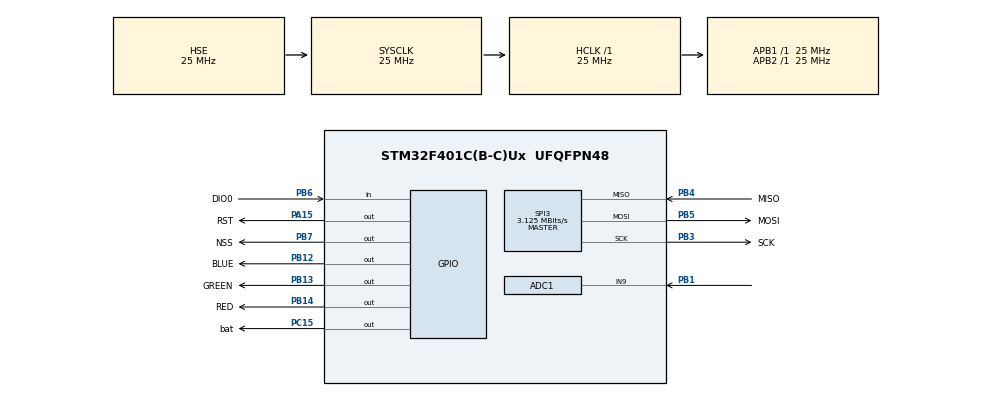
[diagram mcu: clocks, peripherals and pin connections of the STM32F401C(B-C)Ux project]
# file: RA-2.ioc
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ADC1.Channel-0\#ChannelRegularConversion=ADC_CHANNEL_9
ADC1.NbrOfConversionFlag=1
ADC1.Rank-0\#ChannelRegularConversion=1
ADC1.SamplingTime-0\#ChannelRegularConversion=ADC_SAMPLETIME_480CYCLES
ADC1.master=1
Mcu.Family=STM32F4
Mcu.Name=STM32F401C(B-C)Ux
Mcu.Package=UFQFPN48
NVIC.PriorityGroup=NVIC_PRIORITYGROUP_4
NVIC.RTC_WKUP_IRQn=true\:0\:0\:false\:false\:true\:true\:true\:true
PA15.GPIO_Label=RST
PA15.Signal=GPIO_Output
PB1.Signal=ADCx_IN9
PB12.GPIO_Label=BLUE
PB12.GPIO_Speed=GPIO_SPEED_FREQ_LOW
PB12.PinState=GPIO_PIN_RESET
PB12.Signal=GPIO_Output
PB13.GPIO_Label=GREEN
PB13.GPIO_Speed=GPIO_SPEED_FREQ_LOW
PB13.PinState=GPIO_PIN_RESET
PB13.Signal=GPIO_Output
PB14.GPIO_Label=RED
PB14.GPIO_Speed=GPIO_SPEED_FREQ_LOW
PB14.PinState=GPIO_PIN_RESET
PB14.Signal=GPIO_Output
PB3.GPIO_Label=SCK
PB3.Mode=Full_Duplex_Master
PB3.Signal=SPI3_SCK
PB4.GPIO_Label=MISO
PB4.Mode=Full_Duplex_Master
PB4.Signal=SPI3_MISO
PB5.GPIO_Label=MOSI
PB5.Mode=Full_Duplex_Master
PB5.Signal=SPI3_MOSI
PB6.GPIO_Label=DIO0
PB6.Signal=GPIO_Input
PB7.GPIO_Label=NSS
PB7.Signal=GPIO_Output
PC15-OSC32_OUT.GPIO_Label=bat
PC15-OSC32_OUT.PinState=GPIO_PIN_SET
PC15-OSC32_OUT.Signal=GPIO_Output
PH0\ -\ OSC_IN.Mode=HSE-External-Oscillator
PH0\ -\ OSC_IN.Signal=RCC_OSC_IN
PH1\ -\ OSC_OUT.Mode=HSE-External-Oscillator
PH1\ -\ OSC_OUT.Signal=RCC_OSC_OUT
ProjectManager.HeapSize=0x200
ProjectManager.StackSize=0x400
ProjectManager.TargetToolchain=STM32CubeIDE
RCC.48MHZClocksFreq_Value=48000000
RCC.AHBFreq_Value=25000000
RCC.APB1Freq_Value=25000000
RCC.APB1TimFreq_Value=25000000
RCC.APB2Freq_Value=25000000
RCC.APB2TimFreq_Value=25000000
RCC.CortexFreq_Value=25000000
RCC.HCLKFreq_Value=25000000
RCC.HSE_VALUE=25000000
RCC.HSI_VALUE=16000000
RCC.LSE_VALUE=32768
RCC.PLLM=15
RCC.PLLN=144
RCC.PLLP=RCC_PLLP_DIV4
RCC.PLLQ=5
RCC.PLLSourceVirtual=RCC_PLLSOURCE_HSE
RCC.SYSCLKFreq_VALUE=25000000
RCC.SYSCLKSource=RCC_SYSCLKSOURCE_HSE
RCC.VCOOutputFreq_Value=240000000
SH.ADCx_IN9.0=ADC1_IN9,IN9
SPI3.BaudRatePrescaler=SPI_BAUDRATEPRESCALER_8
SPI3.CalculateBaudRate=3.125 MBits/s
SPI3.Direction=SPI_DIRECTION_2LINES
SPI3.Mode=SPI_MODE_MASTER
SPI3.VirtualType=VM_MASTER
TIM11.Prescaler=2500-1
VP_RTC_VS_RTC_Activate.Mode=RTC_Enabled
VP_RTC_VS_RTC_WakeUp_intern.Mode=WakeUp
VP_TIM11_VS_ClockSourceINT.Mode=Enable_Timer
board=custom

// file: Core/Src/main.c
/* USER CODE BEGIN Header */
/**
  ******************************************************************************
  * @file           : main.c
  * @brief          : Main program body
  ******************************************************************************
  * @attention
  *
  * Copyright (c) 2023 STMicroelectronics.
  * All rights reserved.
  *
  * This software is licensed under terms that can be found in the LICENSE file
  * in the root directory of this software component.
  * If no LICENSE file comes with this software, it is provided AS-IS.
  *
  ******************************************************************************
  */
/* USER CODE END Header */
#include "main.h"

/* USER CODE BEGIN Includes */
#include "stdio.h"
#include "string.h"
#include "SX1278.h"
#include "SX1278_hw.h"
#include "adc.h"

/* USER CODE END Includes */

ADC_HandleTypeDef hadc1;

RTC_HandleTypeDef hrtc;

SPI_HandleTypeDef hspi3;

TIM_HandleTypeDef htim11;

/* USER CODE BEGIN PV */
uint8_t a=0,b=0;
//uint16_t timer_val=0;
//uint16_t timer=0;

int master;
int ret,len;
int RSSI;
int SNR;
int i[3]={100,400,600};

char buffer[512];
//char* ID="abc1234567";
char* ID="dce1234567";
char number[10];
int num=0;

int message=0,change=0;
int message_length;
int timer,timer_val=0,timer2,timer_val2=0;

/* USER CODE END PV */

void SystemClock_Config(void);
static void MX_GPIO_Init(void);
static void MX_SPI3_Init(void);
static void MX_ADC1_Init(void);
static void MX_RTC_Init(void);
static void MX_TIM11_Init(void);

/* USER CODE BEGIN 0 */
void swap(int *xp, int *yp) {
    int temp = *xp;
    *xp = *yp;
    *yp = temp;
}

void bubbleSort(int arr[], int n) {
   for (int i = 0; i < n-1; i++) {
       for (int j = 0; j < n-i-1; j++) {
           if (arr[j] > arr[j+1]) {
              swap(&arr[j], &arr[j+1]);
           }
       }
   }
}

/* USER CODE END 0 */

int main(void)
{

  /* MCU Configuration--------------------------------------------------------*/

  /* Reset of all peripherals, Initializes the Flash interface and the Systick. */
  HAL_Init();

  /* Configure the system clock */
  SystemClock_Config();

  /* Initialize all configured peripherals */
  MX_GPIO_Init();
  MX_SPI3_Init();
  MX_ADC1_Init();
  MX_RTC_Init();
  MX_TIM11_Init();
  /* USER CODE BEGIN 2 */
  //define necessary structures
  SX1278_hw_t SX1278_hw;
  SX1278_t SX1278;

  	//initialize LoRa module
  	SX1278_hw.dio0.port = DIO0_GPIO_Port;
  	SX1278_hw.dio0.pin = DIO0_Pin;
  	SX1278_hw.nss.port = NSS_GPIO_Port;
  	SX1278_hw.nss.pin = NSS_Pin;
  	SX1278_hw.reset.port = RST_GPIO_Port;
  	SX1278_hw.reset.pin = RST_Pin;
  	SX1278_hw.spi = &hspi3;

  	SX1278.hw = &SX1278_hw;

  	master=0;

  	SX1278_init(&SX1278, 434000000, SX1278_POWER_17DBM, SX1278_LORA_SF_7,SX1278_LORA_BW_250KHZ, SX1278_LORA_CR_4_5, SX1278_LORA_CRC_EN, 10);
  	if (master == 1) {
  		ret = SX1278_LoRaEntryTx(&SX1278, 16, 2000);

  	}
  	else {
  		ret = SX1278_LoRaEntryRx(&SX1278, 16, 2000);

  	}
//  	HAL_TIM_Base_Start(&htim11);
  /* USER CODE END 2 */

  /* Infinite loop */
  /* USER CODE BEGIN WHILE */
  while (1)
  {
	  while (num==0){
		  ret = SX1278_LoRaRxPacket(&SX1278,1000);
		  if (ret > 0) {
		  				SX1278_read(&SX1278, (uint8_t*) buffer, ret);
		  				char* receive=strstr(buffer,ID);
		  				memcpy(number,receive+11,2);
		  				sscanf(number,"%d",&num);
		  			    RSSI=SX1278_RSSI_LoRa(&SX1278);
		  			  	SNR=SX1278_SNR_LoRa(&SX1278);
		  			    change = 1;
		  }
	  }

		//change mode
	  		if (change == 1) {
			change=0;
				master = ~master & 0x01;
				if (master == 1) {
					ret = SX1278_LoRaEntryTx(&SX1278, 16, 2000);
				}
				else {
					ret = SX1278_LoRaEntryRx(&SX1278, 16, 2000);
				}
		}
		if(a==0){
			a=1;
			HAL_Delay(num*4000);

		}

		if (master == 1) {
//			timer = __HAL_TIM_GET_COUNTER(&htim11);
			message=ADC_Read();
			message_length = sprintf(buffer,"%s%04d%04d%04d",ID,message,RSSI,SNR);
			SX1278_LoRaEntryTx(&SX1278, message_length, 2000);
			SX1278_LoRaTxPacket(&SX1278, (uint8_t *) buffer, message_length, 2000);
            change=1;
            if(message<i[0]){
            		    HAL_GPIO_WritePin(RED_GPIO_Port, RED_Pin, GPIO_PIN_SET);
            		    HAL_GPIO_WritePin(GREEN_GPIO_Port, GREEN_Pin, GPIO_PIN_RESET);
            		    HAL_GPIO_WritePin(BLUE_GPIO_Port, BLUE_Pin, GPIO_PIN_RESET);
            		    }
            		    else if(message<i[1]){
            			HAL_GPIO_WritePin(RED_GPIO_Port, RED_Pin, GPIO_PIN_RESET);
            			HAL_GPIO_WritePin(GREEN_GPIO_Port, GREEN_Pin, GPIO_PIN_SET);
            			HAL_GPIO_WritePin(BLUE_GPIO_Port, BLUE_Pin, GPIO_PIN_RESET);
            		    }
            		    else if(message<i[2])
            		    {
            		    HAL_GPIO_WritePin(RED_GPIO_Port, RED_Pin, GPIO_PIN_RESET);
            		    HAL_GPIO_WritePin(GREEN_GPIO_Port, GREEN_Pin, GPIO_PIN_RESET);
            		    HAL_GPIO_WritePin(BLUE_GPIO_Port, BLUE_Pin, GPIO_PIN_SET);
            		    }
            		    else{
            		    HAL_GPIO_WritePin(RED_GPIO_Port, RED_Pin, GPIO_PIN_SET);
            		    HAL_GPIO_WritePin(GREEN_GPIO_Port, GREEN_Pin, GPIO_PIN_SET);
            		    HAL_GPIO_WritePin(BLUE_GPIO_Port, BLUE_Pin, GPIO_PIN_SET);
            		    }
//            timer_val = __HAL_TIM_GET_COUNTER(&htim11)-timer;
        }

		else {
//			timer2 = __HAL_TIM_GET_COUNTER(&htim11);
			ret = SX1278_LoRaRxPacket(&SX1278,1000);
			if (ret > 0) {
				SX1278_read(&SX1278, (uint8_t*) buffer, ret);
			    if(strcmp("ok",buffer)==0){
			    b=1;
				RSSI=SX1278_RSSI_LoRa(&SX1278);
				SNR=SX1278_SNR_LoRa(&SX1278);
				change=1;
			    }
			    else if(strstr(buffer,"set")!=0){
			    //sscanf(buffer,"%*[^0123456789]%d%*[^0123456789]%d",&i[0],&i[1]);
			    sscanf(buffer,"%*[^0123456789]%d%*[^0123456789]%d%*[^0123456789]%d",&i[0],&i[1],&i[2]);
			    bubbleSort(i, 3);
			    b=1;
				RSSI=SX1278_RSSI_LoRa(&SX1278);
				SNR=SX1278_SNR_LoRa(&SX1278);
				change=1;
			    }
			    else if(strstr(buffer,"stop")!=0){
			    num=0;
			    }
//				timer_val2 = __HAL_TIM_GET_COUNTER(&htim11)-timer2;
		    }
			else {
					change=1;
					b=1;
					RSSI=SX1278_RSSI_LoRa(&SX1278);
					SNR=SX1278_SNR_LoRa(&SX1278);
				}
			}

		if (change == 1) {
					change=0;
						master = ~master & 0x01;
						if (master == 1) {
							ret = SX1278_LoRaEntryTx(&SX1278, 16, 2000);
						}
						else {
							ret = SX1278_LoRaEntryRx(&SX1278, 16, 2000);
						}
				}

if (b==1){
	b=0;
	HAL_GPIO_WritePin(bat_GPIO_Port, bat_Pin, GPIO_PIN_RESET);
	SX1278_sleep(&SX1278);
	HAL_SuspendTick();
	HAL_RTCEx_SetWakeUpTimer_IT(&hrtc,16000,RTC_WAKEUPCLOCK_RTCCLK_DIV16);
	HAL_PWR_EnterSLEEPMode(PWR_LOWPOWERREGULATOR_ON,PWR_STOPENTRY_WFI);
	HAL_RTCEx_DeactivateWakeUpTimer(&hrtc);
	SystemClock_Config();
	HAL_ResumeTick();
	SX1278_standby(&SX1278);
	HAL_GPIO_WritePin(bat_GPIO_Port, bat_Pin, GPIO_PIN_SET);
}
	  /*HAL_GPIO_TogglePin(RED_GPIO_Port, RED_Pin);
	              		    //HAL_GPIO_TogglePin(GREEN_GPIO_Port, GREEN_Pin);
	              		    //HAL_GPIO_TogglePin(BLUE_GPIO_Port, BLUE_Pin);
	              		    HAL_Delay(1000);*/

    /* USER CODE END WHILE */

  }
}

void SystemClock_Config(void)
{
  RCC_OscInitTypeDef RCC_OscInitStruct = {0};
  RCC_ClkInitTypeDef RCC_ClkInitStruct = {0};

  /** Configure the main internal regulator output voltage
  */
  __HAL_RCC_PWR_CLK_ENABLE();
  __HAL_PWR_VOLTAGESCALING_CONFIG(PWR_REGULATOR_VOLTAGE_SCALE2);

  /** Initializes the RCC Oscillators according to the specified parameters
  * in the RCC_OscInitTypeDef structure.
  */
  RCC_OscInitStruct.OscillatorType = RCC_OSCILLATORTYPE_LSI|RCC_OSCILLATORTYPE_HSE;
  RCC_OscInitStruct.HSEState = RCC_HSE_ON;
  RCC_OscInitStruct.LSIState = RCC_LSI_ON;
  RCC_OscInitStruct.PLL.PLLState = RCC_PLL_NONE;
  if (HAL_RCC_OscConfig(&RCC_OscInitStruct) != HAL_OK)
  {
    Error_Handler();
  }

  /** Initializes the CPU, AHB and APB buses clocks
  */
  RCC_ClkInitStruct.ClockType = RCC_CLOCKTYPE_HCLK|RCC_CLOCKTYPE_SYSCLK
                              |RCC_CLOCKTYPE_PCLK1|RCC_CLOCKTYPE_PCLK2;
  RCC_ClkInitStruct.SYSCLKSource = RCC_SYSCLKSOURCE_HSE;
  RCC_ClkInitStruct.AHBCLKDivider = RCC_SYSCLK_DIV1;
  RCC_ClkInitStruct.APB1CLKDivider = RCC_HCLK_DIV1;
  RCC_ClkInitStruct.APB2CLKDivider = RCC_HCLK_DIV1;

  if (HAL_RCC_ClockConfig(&RCC_ClkInitStruct, FLASH_LATENCY_0) != HAL_OK)
  {
    Error_Handler();
  }
}

static void MX_ADC1_Init(void)
{

  ADC_ChannelConfTypeDef sConfig = {0};

  /** Configure the global features of the ADC (Clock, Resolution, Data Alignment and number of conversion)
  */
  hadc1.Instance = ADC1;
  hadc1.Init.ClockPrescaler = ADC_CLOCK_SYNC_PCLK_DIV2;
  hadc1.Init.Resolution = ADC_RESOLUTION_12B;
  hadc1.Init.ScanConvMode = DISABLE;
  hadc1.Init.ContinuousConvMode = DISABLE;
  hadc1.Init.DiscontinuousConvMode = DISABLE;
  hadc1.Init.ExternalTrigConvEdge = ADC_EXTERNALTRIGCONVEDGE_NONE;
  hadc1.Init.ExternalTrigConv = ADC_SOFTWARE_START;
  hadc1.Init.DataAlign = ADC_DATAALIGN_RIGHT;
  hadc1.Init.NbrOfConversion = 1;
  hadc1.Init.DMAContinuousRequests = DISABLE;
  hadc1.Init.EOCSelection = ADC_EOC_SINGLE_CONV;
  if (HAL_ADC_Init(&hadc1) != HAL_OK)
  {
    Error_Handler();
  }

  /** Configure for the selected ADC regular channel its corresponding rank in the sequencer and its sample time.
  */
  sConfig.Channel = ADC_CHANNEL_9;
  sConfig.Rank = 1;
  sConfig.SamplingTime = ADC_SAMPLETIME_480CYCLES;
  if (HAL_ADC_ConfigChannel(&hadc1, &sConfig) != HAL_OK)
  {
    Error_Handler();
  }

}

static void MX_RTC_Init(void)
{

  RTC_TimeTypeDef sTime = {0};
  RTC_DateTypeDef sDate = {0};

  /** Initialize RTC Only
  */
  hrtc.Instance = RTC;
  hrtc.Init.HourFormat = RTC_HOURFORMAT_24;
  hrtc.Init.AsynchPrediv = 127;
  hrtc.Init.SynchPrediv = 255;
  hrtc.Init.OutPut = RTC_OUTPUT_DISABLE;
  hrtc.Init.OutPutPolarity = RTC_OUTPUT_POLARITY_HIGH;
  hrtc.Init.OutPutType = RTC_OUTPUT_TYPE_OPENDRAIN;
  if (HAL_RTC_Init(&hrtc) != HAL_OK)
  {
    Error_Handler();
  }

  /** Initialize RTC and set the Time and Date
  */
  sTime.Hours = 0x0;
  sTime.Minutes = 0x0;
  sTime.Seconds = 0x0;
  sTime.DayLightSaving = RTC_DAYLIGHTSAVING_NONE;
  sTime.StoreOperation = RTC_STOREOPERATION_RESET;
  if (HAL_RTC_SetTime(&hrtc, &sTime, RTC_FORMAT_BCD) != HAL_OK)
  {
    Error_Handler();
  }
  sDate.WeekDay = RTC_WEEKDAY_MONDAY;
  sDate.Month = RTC_MONTH_JANUARY;
  sDate.Date = 0x1;
  sDate.Year = 0x0;

  if (HAL_RTC_SetDate(&hrtc, &sDate, RTC_FORMAT_BCD) != HAL_OK)
  {
    Error_Handler();
  }

  /** Enable the WakeUp
  */
  if (HAL_RTCEx_SetWakeUpTimer_IT(&hrtc, 0, RTC_WAKEUPCLOCK_RTCCLK_DIV16) != HAL_OK)
  {
    Error_Handler();
  }

}

static void MX_SPI3_Init(void)
{

  /* SPI3 parameter configuration*/
  hspi3.Instance = SPI3;
  hspi3.Init.Mode = SPI_MODE_MASTER;
  hspi3.Init.Direction = SPI_DIRECTION_2LINES;
  hspi3.Init.DataSize = SPI_DATASIZE_8BIT;
  hspi3.Init.CLKPolarity = SPI_POLARITY_LOW;
  hspi3.Init.CLKPhase = SPI_PHASE_1EDGE;
  hspi3.Init.NSS = SPI_NSS_SOFT;
  hspi3.Init.BaudRatePrescaler = SPI_BAUDRATEPRESCALER_8;
  hspi3.Init.FirstBit = SPI_FIRSTBIT_MSB;
  hspi3.Init.TIMode = SPI_TIMODE_DISABLE;
  hspi3.Init.CRCCalculation = SPI_CRCCALCULATION_DISABLE;
  hspi3.Init.CRCPolynomial = 10;
  if (HAL_SPI_Init(&hspi3) != HAL_OK)
  {
    Error_Handler();
  }

}

static void MX_TIM11_Init(void)
{

  htim11.Instance = TIM11;
  htim11.Init.Prescaler = 2500-1;
  htim11.Init.CounterMode = TIM_COUNTERMODE_UP;
  htim11.Init.Period = 65535;
  htim11.Init.ClockDivision = TIM_CLOCKDIVISION_DIV1;
  htim11.Init.AutoReloadPreload = TIM_AUTORELOAD_PRELOAD_DISABLE;
  if (HAL_TIM_Base_Init(&htim11) != HAL_OK)
  {
    Error_Handler();
  }

}

static void MX_GPIO_Init(void)
{
  GPIO_InitTypeDef GPIO_InitStruct = {0};

  /* GPIO Ports Clock Enable */
  __HAL_RCC_GPIOC_CLK_ENABLE();
  __HAL_RCC_GPIOH_CLK_ENABLE();
  __HAL_RCC_GPIOB_CLK_ENABLE();
  __HAL_RCC_GPIOA_CLK_ENABLE();

  /*Configure GPIO pin Output Level */
  HAL_GPIO_WritePin(bat_GPIO_Port, bat_Pin, GPIO_PIN_SET);

  /*Configure GPIO pin Output Level */
  HAL_GPIO_WritePin(GPIOB, BLUE_Pin|GREEN_Pin|RED_Pin|NSS_Pin, GPIO_PIN_RESET);

  /*Configure GPIO pin Output Level */
  HAL_GPIO_WritePin(RST_GPIO_Port, RST_Pin, GPIO_PIN_RESET);

  /*Configure GPIO pin : bat_Pin */
  GPIO_InitStruct.Pin = bat_Pin;
  GPIO_InitStruct.Mode = GPIO_MODE_OUTPUT_PP;
  GPIO_InitStruct.Pull = GPIO_NOPULL;
  GPIO_InitStruct.Speed = GPIO_SPEED_FREQ_LOW;
  HAL_GPIO_Init(bat_GPIO_Port, &GPIO_InitStruct);

  /*Configure GPIO pins : BLUE_Pin GREEN_Pin RED_Pin NSS_Pin */
  GPIO_InitStruct.Pin = BLUE_Pin|GREEN_Pin|RED_Pin|NSS_Pin;
  GPIO_InitStruct.Mode = GPIO_MODE_OUTPUT_PP;
  GPIO_InitStruct.Pull = GPIO_NOPULL;
  GPIO_InitStruct.Speed = GPIO_SPEED_FREQ_LOW;
  HAL_GPIO_Init(GPIOB, &GPIO_InitStruct);

  /*Configure GPIO pin : RST_Pin */
  GPIO_InitStruct.Pin = RST_Pin;
  GPIO_InitStruct.Mode = GPIO_MODE_OUTPUT_PP;
  GPIO_InitStruct.Pull = GPIO_NOPULL;
  GPIO_InitStruct.Speed = GPIO_SPEED_FREQ_LOW;
  HAL_GPIO_Init(RST_GPIO_Port, &GPIO_InitStruct);

  /*Configure GPIO pin : DIO0_Pin */
  GPIO_InitStruct.Pin = DIO0_Pin;
  GPIO_InitStruct.Mode = GPIO_MODE_INPUT;
  GPIO_InitStruct.Pull = GPIO_NOPULL;
  HAL_GPIO_Init(DIO0_GPIO_Port, &GPIO_InitStruct);

}

void Error_Handler(void)
{
  __disable_irq();
  while (1)
  {
  }
}
